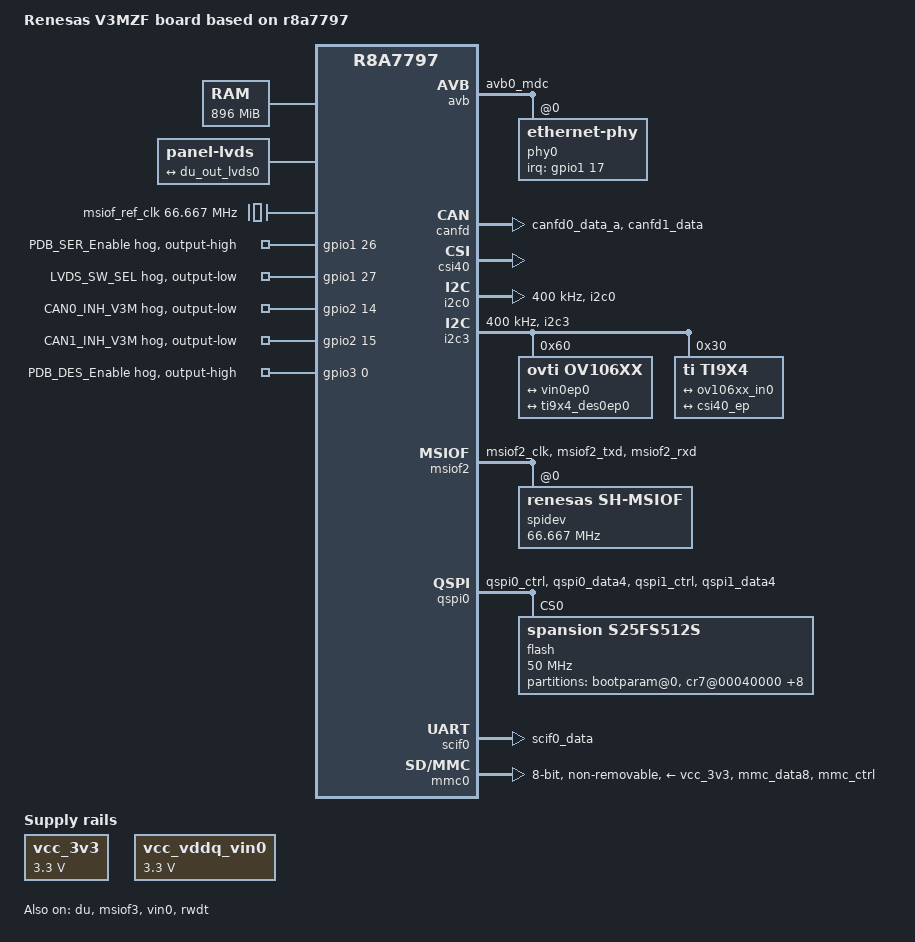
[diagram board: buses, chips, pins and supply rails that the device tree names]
/*
 * Device Tree Source for the V3MZF board
 *
 * Copyright (C) 2018 Cogent Embedded, Inc.
 *
 * This file is licensed under the terms of the GNU General Public License
 * version 2.  This program is licensed "as is" without any warranty of any
 * kind, whether express or implied.
 */

/dts-v1/;
#include "r8a77970.dtsi"
#include <dt-bindings/gpio/gpio.h>

/ {
	model = "Renesas V3MZF board based on r8a7797";
	compatible = "renesas,v3mzf", "renesas,r8a7797";

	aliases {
		serial0 = &scif0;
		ethernet0 = &avb;
	};

	chosen {
		bootargs = "ignore_loglevel rw root=/dev/nfs ip=dhcp";
		stdout-path = "serial0:115200n8";
	};

	memory@48000000 {
		device_type = "memory";
		/* first 128MB is reserved for secure area. */
		reg = <0x0 0x48000000 0x0 0x38000000>;
	};

	reserved-memory {
		#address-cells = <2>;
		#size-cells = <2>;
		ranges;

		/* device specific region for Lossy Decompression */
		lossy_decompress: linux,lossy_decompress {
			no-map;
			reg = <0x00000000 0x6c000000 0x0 0x03000000>;
		};

		/* global autoconfigured region for contiguous allocations */
		linux,cma {
			compatible = "shared-dma-pool";
			reusable;
			reg = <0x00000000 0x6f000000 0x0 0x11000000>;
			linux,cma-default;
		};
	};

	mmngr {
		compatible = "renesas,mmngr";
		memory-region = <&lossy_decompress>;
	};

	mmngrbuf {
		compatible = "renesas,mmngrbuf";
	};

	vspm_if {
		compatible = "renesas,vspm_if";
	};

	lvds {
		compatible = "panel-lvds";

		width-mm = <210>;
		height-mm = <158>;

		data-mapping = "jeida-24";

		panel-timing {
			clock-frequency = <65000000>;
			hactive = <1280>;
			vactive = <800>;
			hsync-len = <40>;
			hfront-porch = <80>;
			hback-porch = <40>;
			vfront-porch = <14>;
			vback-porch = <14>;
			vsync-len = <4>;
		};

		port {
			lvds_in: endpoint {
				remote-endpoint = <&du_out_lvds0>;
			};
		};
	};

	dclkin_p0: clock-out0 {
		compatible = "fixed-clock";
		#clock-cells = <0>;
		clock-frequency = <148500000>;
	};

	msiof_ref_clk: msiof-ref-clock {
		compatible = "fixed-clock";
		#clock-cells = <0>;
		clock-frequency = <66666666>;
	};

	vcc_3v3: regulator0 {
		compatible = "regulator-fixed";
		regulator-name = "fixed-VCC3V3";
		regulator-min-microvolt = <3300000>;
		regulator-max-microvolt = <3300000>;
		regulator-boot-on;
		regulator-always-on;
	};

	vcc_vddq_vin0: regulator1 {
		compatible = "regulator-fixed";
		regulator-name = "VCC-VDDQ-VIN0";
		regulator-min-microvolt = <3300000>;
		regulator-max-microvolt = <3300000>;
		regulator-boot-on;
		regulator-always-on;
	};
};

&avb {
	pinctrl-0 = <&avb_pins>;
	pinctrl-names = "default";
	renesas,no-ether-link;
	phy-handle = <&phy0>;
	status = "okay";
	phy-int-gpio = <&gpio1 17 GPIO_ACTIVE_LOW>;

	phy0: ethernet-phy@0 {
		rxc-skew-ps = <1500>;
		rxdv-skew-ps = <420>; /* default */
		rxd0-skew-ps = <420>; /* default */
		rxd1-skew-ps = <420>; /* default */
		rxd2-skew-ps = <420>; /* default */
		rxd3-skew-ps = <420>; /* default */
		txc-skew-ps = <900>; /* default */
		txen-skew-ps = <420>; /* default */
		txd0-skew-ps = <420>; /* default */
		txd1-skew-ps = <420>; /* default */
		txd2-skew-ps = <420>; /* default */
		txd3-skew-ps = <420>; /* default */
		reg = <0>;
		interrupt-parent = <&gpio1>;
		interrupts = <17 IRQ_TYPE_LEVEL_LOW>;
		max-speed = <1000>;
	};
};

&canfd {
	pinctrl-0 = <&canfd0_pins &canfd1_pins>;
	pinctrl-names = "default";
	status = "okay";

	channel0 {
		status = "okay";
	};

	channel1 {
		status = "okay";
	};
};

&csi40 {
	status = "okay";

	virtual,channel {
		csi2_vc0 {
			data,type = "raw8";
			receive,vc = <0>;
		};
	};

	port {
		#address-cells = <1>;
		#size-cells = <0>;

		csi40_ep: endpoint {
			clock-lanes = <0>;
			data-lanes = <1 2 3 4>;
			csi-rate = <300>;
		};
	};
};

&du {
	status = "okay";

	ports {
		port@0 {
			endpoint {
				remote-endpoint = <&lvds_in>;
			};
		};
	};
};

&extal_clk {
	clock-frequency = <16666666>;
};

&extalr_clk {
	clock-frequency = <32768>;
};

&gpio1 {
	pdb_ser_enable {
		gpio-hog;
		gpios = <26 GPIO_ACTIVE_HIGH>;
		output-high;
		line-name = "PDB_SER_Enable";
	};

	lvds_sw_sel {
		gpio-hog;
		gpios = <27 GPIO_ACTIVE_HIGH>;
		output-low;
		line-name = "LVDS_SW_SEL";
	};
};

&gpio2 {
	can0_inh_v3m {
		gpio-hog;
		gpios = <14 GPIO_ACTIVE_HIGH>;
		output-low;
		line-name = "CAN0_INH_V3M";
	};

	can1_inh_v3m {
		gpio-hog;
		gpios = <15 GPIO_ACTIVE_HIGH>;
		output-low;
		line-name = "CAN1_INH_V3M";
	};
};

&gpio3 {
	pdb_des_enable {
		gpio-hog;
		gpios = <0 GPIO_ACTIVE_HIGH>;
		output-high;
		line-name = "PDB_DES_Enable";
	};
};

&i2c0 {
	pinctrl-0 = <&i2c0_pins>;
	pinctrl-names = "default";

	status = "okay";
	clock-frequency = <400000>;
};

&i2c3 {
	pinctrl-0 = <&i2c3_pins>;
	pinctrl-names = "default";

	status = "okay";
	clock-frequency = <400000>;

	ov106xx@0 {
		compatible = "ovti,ov106xx";
		reg = <0x60>;

		port@0 {
			ov106xx_in0: endpoint {
				clock-lanes = <0>;
				data-lanes = <1 2 3 4>;
				remote-endpoint = <&vin0ep0>;
			};
		};
		port@1 {
			ov106xx_ti9x4_des0ep0: endpoint@0 {
				remote-endpoint = <&ti9x4_des0ep0>;
			};
		};
	};

	ti9x4@30 {
		compatible = "ti,ti9x4";
		reg = <0x30>;
		ti,links = <1>;
		ti,lanes = <4>;
		ti,forwarding-mode = "round-robin";
		ti,dvp_bus = <0>;
		ti,ser_id = <0x30>;

		port@0 {
			ti9x4_des0ep0: endpoint@0 {
				ti9x3-addr = <0x0c>;
				dvp-order = <0>;
				remote-endpoint = <&ov106xx_in0>;
			};
		};
		port@1 {
			ti9x4_csi0ep0: endpoint {
				csi-rate = <800>;
				remote-endpoint = <&csi40_ep>;
			};
		};
	};
};

&msiof2 {
	pinctrl-0 = <&msiof2_pins>;
	pinctrl-names = "default";
	cs-gpios = <&gpio2 4 0>;

	status = "okay";
	spidev@0 {
		compatible = "renesas,sh-msiof";
		reg = <0>;
		spi-max-frequency = <66666666>;
	};
};

&msiof3 {
	pinctrl-0 = <&msiof3_pins>;
	pinctrl-names = "default";

	status = "okay";
	slave;
};

&pfc {
	pinctrl-0 = <&scif_clk_pins>;
	pinctrl-names = "default";

	avb_pins: avb {
		groups = "avb0_mdc";
		function = "avb0";
	};

	canfd0_pins: canfd0 {
		groups = "canfd0_data_a";
		function = "canfd0";
	};

	canfd1_pins: canfd1 {
		groups = "canfd1_data";
		function = "canfd1";
	};

	i2c0_pins: i2c0 {
		groups = "i2c0";
		function = "i2c0";
	};

	i2c3_pins: i2c3 {
		groups = "i2c3";
		function = "i2c3";
	};

	msiof2_pins: msiof2 {
		groups = "msiof2_clk", "msiof2_txd", "msiof2_rxd";
		function = "msiof2";
	};

	msiof3_pins: msiof3 {
		groups = "msiof3_clk", "msiof3_txd", "msiof3_rxd", "msiof3_sync";
		function = "msiof3";
	};

	qspi0_pins: qspi0 {
		groups = "qspi0_ctrl", "qspi0_data4";
		function = "qspi0";
	};

	qspi1_pins: qspi1 {
		groups = "qspi1_ctrl", "qspi1_data4";
		function = "qspi1";
	};

	scif0_pins: scif0 {
		groups = "scif0_data";
		function = "scif0";
	};

	scif_clk_pins: scif_clk {
		groups = "scif_clk_b";
		function = "scif_clk";
	};

	sdhi2_pins_3v3: sdhi2_3v3 {
		groups = "mmc_data8", "mmc_ctrl";
		function = "mmc";
		power-source = <3300>;
	};
};

&qspi0 {
	pinctrl-0 = <&qspi0_pins &qspi1_pins>;
	pinctrl-names = "default";

	status = "okay";

	flash@0 {
		compatible = "spansion,s25fs512s", "jedec,spi-nor";
		reg = <0>;
		spi-max-frequency = <50000000>;
		spi-rx-bus-width = <4>;

		partitions {
			compatible = "fixed-partitions";
			#address-cells = <1>;
			#size-cells = <1>;

			bootparam@0 {
				reg = <0x00000000 0x040000>;
				read-only;
			};
			cr7@00040000 {
				reg = <0x00040000 0x080000>;
				read-only;
			};
			cert_header_sa3@000C0000 {
				reg = <0x000C0000 0x080000>;
				read-only;
			};
			bl2@00140000 {
				reg = <0x00140000 0x040000>;
				read-only;
			};
			cert_header_sa6@00180000 {
				reg = <0x00180000 0x040000>;
				read-only;
			};
			bl31@001C0000 {
				reg = <0x001C0000 0x480000>;
				read-only;
			};
			uboot@00640000 {
				reg = <0x00640000 0x100000>;
				read-only;
			};
			dtb@00740000 {
				reg = <0x00740000 0x080000>;
			};
			kernel@007C0000 {
				reg = <0x007C0000 0x1400000>;
			};
			user@01BC0000 {
				reg = <0x01BC0000 0x2440000>;
			};
		};
	};
};

&scif0 {
	pinctrl-0 = <&scif0_pins>;
	pinctrl-names = "default";

	status = "okay";
};

&scif_clk {
	clock-frequency = <14745600>;
	status = "okay";
};

&mmc0 {
	/* used for on-board eMMC */
	pinctrl-0 = <&sdhi2_pins_3v3>;
	pinctrl-names = "default";

	vmmc-supply = <&vcc_3v3>;
	vqmmc-supply = <&vcc_vddq_vin0>;
	no-1-8-v;
	cap-mmc-highspeed;
	bus-width = <8>;
	non-removable;
	status = "okay";
};

&vin0 {
	status = "okay";

	ports {
		#address-cells = <1>;
		#size-cells = <0>;

		port@0 {
			vin0ep0: endpoint {
				csi,select = "csi40";
				virtual,channel = <0>;
				data-lanes = <1 2 3 4>;
				remote-endpoint = <&ov106xx_in0>;
			};
		};
		port@1 {
			csi0ep0: endpoint {
				remote-endpoint = <&csi40_ep>;
			};
		};
		port@2 {
			vin0_ti9x4_des0ep0: endpoint@0 {
				remote-endpoint = <&ti9x4_des0ep0>;
			};
		};
	};
};

&rwdt {
	status = "okay";
};
